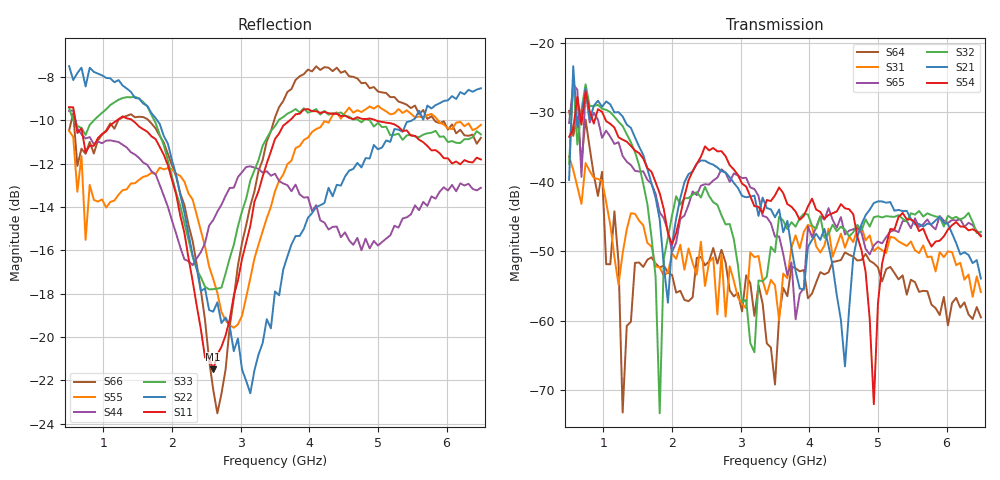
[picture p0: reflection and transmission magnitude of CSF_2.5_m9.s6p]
!Keysight Technologies,M9804A,MY58100912,A.14.10.03
!Date: Thursday, April 27, 2023 10:28:33
!Correction: S11(C  6-Port  )
!S12(C  6-Port  )
!S13(C  6-Port  )
!S14(C  6-Port  )
!S15(C  6-Port  )
!S16(C  6-Port  )
!S21(C  6-Port  )
!S22(C  6-Port  )
!S23(C  6-Port  )
!S24(C  6-Port  )
!S25(C  6-Port  )
!S26(C  6-Port  )
!S31(C  6-Port  )
!S32(C  6-Port  )
!S33(C  6-Port  )
!S34(C  6-Port  )
!S35(C  6-Port  )
!S36(C  6-Port  )
!S41(C  6-Port  )
!S42(C  6-Port  )
!S43(C  6-Port  )
!S44(C  6-Port  )
!S45(C  6-Port  )
!S46(C  6-Port  )
!S51(C  6-Port  )
!S52(C  6-Port  )
!S53(C  6-Port  )
!S54(C  6-Port  )
!S55(C  6-Port  )
!S56(C  6-Port  )
!S61(C  6-Port  )
!S62(C  6-Port  )
!S63(C  6-Port  )
!S64(C  6-Port  )
!S65(C  6-Port  )
!S66(C  6-Port  )
!S6P File: Measurement: :
# Hz S  RI  R 50
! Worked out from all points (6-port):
!   101 points, 500 MHz to 6.5 GHz, reference 50 ohm
!   strongest paths, dB at 500 MHz, 2 GHz, 3.5 GHz, 5 GHz, 6.5 GHz:
!     S54: -33.5, -49.0, -42.0, -57.5, -47.9
!     S21: -39.7, -49.0, -45.1, -42.8, -53.9
!     S32: -37.4, -44.8, -50.1, -45.0, -47.2
!     S65: -31.6, -50.1, -47.9, -48.6, -47.7
!     S31: -36.4, -50.3, -54.9, -49.4, -55.9
!     S64: -29.8, -53.4, -69.2, -52.3, -59.5
!   lowest |S11| = -21.5 dB at 2.6 GHz (marker M1), VSWR 1.18, Z = 42.5 + j2.17 ohm
!   |S11| at or under -10 dB: 590.5 MHz to 1.196 GHz (605.6 MHz wide, 67.8 % of centre); 1.421 GHz to 3.715 GHz (2.293 GHz wide, 89.3 % of centre); 4.972 GHz to end of sweep
